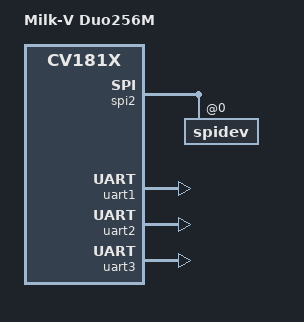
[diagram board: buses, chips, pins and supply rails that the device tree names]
/dts-v1/;
#include "cv181x_base_arm.dtsi"
#include "cv181x_asic_qfn.dtsi"
#include "cv181x_asic_sd.dtsi"
#include "cv181x_default_memmap.dtsi"

/ {
	model = "Milk-V Duo256M";

	sd:cv-sd@4310000 {
		max-frequency = <10000000>;
	};
};

&mipi_rx {
	snsr-reset = <&portc 17 GPIO_ACTIVE_LOW>, <&portc 17 GPIO_ACTIVE_LOW>, <&portc 17 GPIO_ACTIVE_LOW>;
};

&i2c0 {
	status = "disabled";
};

&i2c4 {
	status = "disabled";
};

&spi2 {
	status = "okay";

	spidev@0 {
		status = "okay";
	};
};

&dac {
	mute-gpio-r = <&porte 1 GPIO_ACTIVE_LOW>;
};

&uart1 {
	status = "okay";
};

&uart2 {
	status = "okay";
};

&uart3 {
	status = "okay";
};

